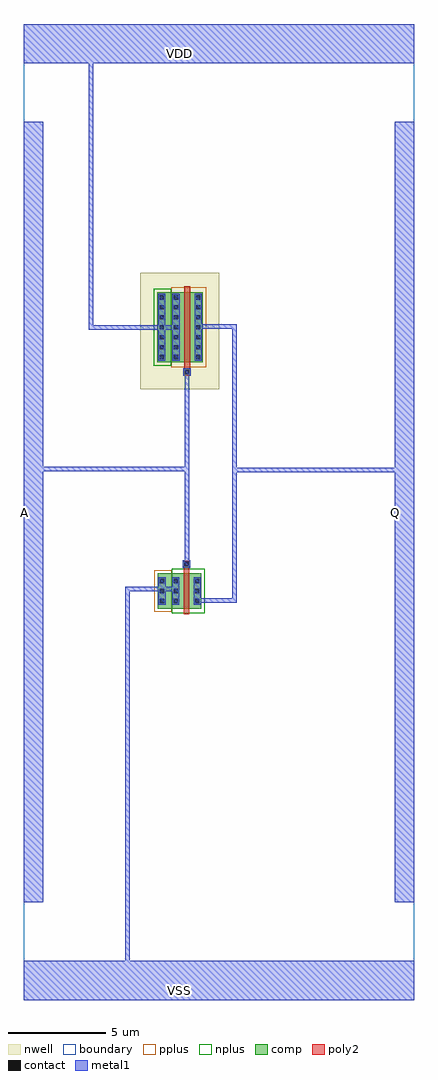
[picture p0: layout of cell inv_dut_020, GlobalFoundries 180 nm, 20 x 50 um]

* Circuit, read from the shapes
.subckt inv_dut_020 A Q VDD VSS
XM1 Q A VSS VSS nfet_03v3 w=1.8u l=0.3u
XM2 Q A VDD VDD pfet_03v3 w=3.6u l=0.3u
.ends

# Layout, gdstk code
from math import pi, radians
import gdstk
lib = gdstk.Library(unit=1e-6, precision=1e-09)
def R(c, l, rs):  # rectangles x0, y0, x1, y1
    for r in rs: c.add(gdstk.rectangle(r[:2], r[2:], *l))
def A(c, l, x, y, w, h, nx, ny, dx, dy):  # array of equal rectangles
    R(c, l, [(x+i*dx, y+j*dy, x+i*dx+w, y+j*dy+h) for i in range(nx) for j in range(ny)])
def P(c, l, *ps):  # polygons
    for p in ps: c.add(gdstk.Polygon(p, *l))
boundary = (0, 0)
nwell = (21, 0)
comp = (22, 0)
poly2 = (30, 0)
pplus = (31, 0)
nplus = (32, 0)
contact = (33, 0)
metal1 = (34, 0)

nfet = lib.new_cell('nfet')
R(nfet, comp, [(-0.42,0,1.81,1.8)])
P(nfet, poly2, [(0.19,-0.3),(0.19,2.1),(0.16,2.1),(0.16,2.46),(0.52,2.46),(0.52,2.1),(0.49,2.1),(0.49,-0.3)])
R(nfet, pplus, [(1.1,-0.17,1.98,1.97)])
R(nfet, nplus, [(-0.59,-0.24,1.1,2.04)])
A(nfet, contact, -0.32, 0.28, 0.22, 0.22, 1, 3, 0, 0.51)
A(nfet, contact, 0.78, 0.28, 0.22, 0.22, 1, 3, 0, 0.51)
A(nfet, contact, 1.49, 0.28, 0.22, 0.22, 1, 3, 0, 0.51)
R(nfet, contact, [(0.23,2.17,0.45,2.39)])
R(nfet, metal1, [(-0.4,0.2,-0.02,1.6), (0.7,0.2,1.08,1.6), (1.41,0.2,1.79,1.6), (0.15,2.09,0.53,2.47)])

pfet = lib.new_cell('pfet')
R(pfet, nwell, [(-1.32,-0.99,2.73,4.97)])
R(pfet, comp, [(-0.46,0,1.87,3.6)])
P(pfet, poly2, [(0.19,-0.3),(0.19,3.9),(0.15,3.9),(0.15,4.28),(0.53,4.28),(0.53,3.9),(0.49,3.9),(0.49,-0.3)])
R(pfet, pplus, [(-0.63,-0.24,1.14,3.84)])
R(pfet, nplus, [(1.14,-0.17,2.04,3.77)])
A(pfet, contact, -0.34, 0.16, 0.22, 0.22, 1, 7, 0, 0.51)
A(pfet, contact, 0.8, 0.16, 0.22, 0.22, 1, 7, 0, 0.51)
A(pfet, contact, 1.53, 0.16, 0.22, 0.22, 1, 7, 0, 0.51)
R(pfet, contact, [(0.23,3.98,0.45,4.2)])
R(pfet, metal1, [(-0.42,0.08,-0.04,3.52), (0.72,0.08,1.1,3.52), (1.45,0.08,1.83,3.52), (0.15,3.9,0.53,4.28)])

inv_dut_020 = lib.new_cell('inv_dut_020')
R(inv_dut_020, boundary, [(-10,-25,10,25)])
R(inv_dut_020, metal1, [(-10,-25,10,-23), (-10,-20,-9,20), (9,-20,10,20), (-10,23,10,25)])
inv_dut_020.add(gdstk.FlexPath([(-1.64,7.26),(-1.64,-2.78)], 0.23, ends="flush", simple_path=True, layer=34, datatype=0))  # metal1
inv_dut_020.add(gdstk.FlexPath([(-1.55,2.205),(-9.515,2.205)], 0.23, ends="flush", simple_path=True, layer=34, datatype=0))  # metal1
inv_dut_020.add(gdstk.FlexPath([(-1.1,9.5),(0.795,9.5),(0.795,-4.525),(-1.135,-4.525),(-1.135,-4.525)], 0.23, ends="flush", simple_path=True, layer=34, datatype=0))  # metal1
inv_dut_020.add(gdstk.FlexPath([(0.755,2.14),(9.5,2.14)], 0.23, ends="flush", simple_path=True, layer=34, datatype=0))  # metal1
inv_dut_020.add(gdstk.FlexPath([(-2.1,9.44),(-6.555,9.44),(-6.555,23.335)], 0.23, ends="flush", simple_path=True, layer=34, datatype=0))  # metal1
inv_dut_020.add(gdstk.FlexPath([(-2.165,-3.935),(-4.675,-3.935),(-4.675,-23.735)], 0.23, ends="flush", simple_path=True, layer=34, datatype=0))  # metal1
inv_dut_020.add(gdstk.Reference(nfet, (-1.325,-4.95), rotation=pi, x_reflection=True))
inv_dut_020.add(gdstk.Reference(pfet, (-1.295,11.265), rotation=pi))
inv_dut_020.add(gdstk.Label('VDD', (-2,23.5), layer=34, texttype=10))
inv_dut_020.add(gdstk.Label('VSS', (-2,-24.5), layer=34, texttype=10))
inv_dut_020.add(gdstk.Label('A', (-9.97,0), layer=34, texttype=10))
inv_dut_020.add(gdstk.Label('Q', (9.03,0), layer=34, texttype=10))

lib.write_gds('inv_dut_020.gds')
